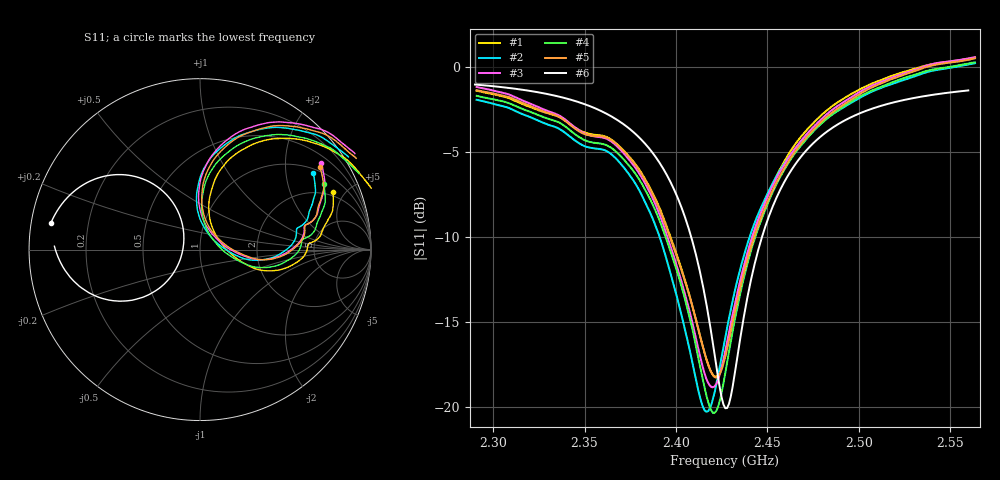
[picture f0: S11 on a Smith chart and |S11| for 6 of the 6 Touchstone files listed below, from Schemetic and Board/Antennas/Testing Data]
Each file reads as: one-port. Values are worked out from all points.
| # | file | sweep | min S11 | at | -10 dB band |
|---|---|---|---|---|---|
| 1 | ant1.s1p | 2.291 GHz to 2.564 GHz | -18.2 dB | 2.421 GHz | 44.95 MHz wide |
| 2 | ant2.s1p | 2.291 GHz to 2.564 GHz | -20.3 dB | 2.417 GHz | 49.31 MHz wide |
| 3 | ant3.s1p | 2.291 GHz to 2.564 GHz | -18.8 dB | 2.42 GHz | 46.34 MHz wide |
| 4 | ant4.s1p | 2.291 GHz to 2.564 GHz | -20.3 dB | 2.421 GHz | 49.06 MHz wide |
| 5 | ant5.s1p | 2.291 GHz to 2.564 GHz | -18.3 dB | 2.422 GHz | 46.22 MHz wide |
| 6 | wifi_patch_sim.s1p | 2.29 GHz to 2.56 GHz | -20.1 dB | 2.427 GHz | 38.75 MHz wide |
